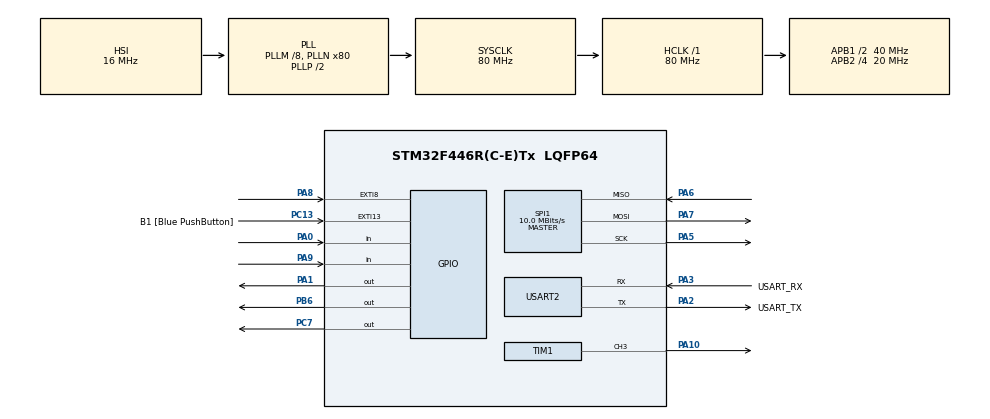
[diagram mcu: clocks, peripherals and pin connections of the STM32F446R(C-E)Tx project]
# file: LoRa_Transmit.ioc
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Mcu.Family=STM32F4
Mcu.Name=STM32F446R(C-E)Tx
Mcu.Package=LQFP64
NVIC.PriorityGroup=NVIC_PRIORITYGROUP_0
PA0-WKUP.Signal=GPIO_Input
PA1.Signal=GPIO_Output
PA10.Signal=S_TIM1_CH3
PA13.GPIO_Label=TMS
PA13.Mode=Serial_Wire
PA13.Signal=SYS_JTMS-SWDIO
PA14.GPIO_Label=TCK
PA14.Mode=Serial_Wire
PA14.Signal=SYS_JTCK-SWCLK
PA2.GPIO_Label=USART_TX
PA2.Mode=Asynchronous
PA2.Signal=USART2_TX
PA3.GPIO_Label=USART_RX
PA3.Mode=Asynchronous
PA3.Signal=USART2_RX
PA5.GPIO_PuPd=GPIO_PULLDOWN
PA5.Mode=Full_Duplex_Master
PA5.Signal=SPI1_SCK
PA6.GPIO_PuPd=GPIO_PULLDOWN
PA6.Mode=Full_Duplex_Master
PA6.Signal=SPI1_MISO
PA7.GPIO_PuPd=GPIO_PULLDOWN
PA7.Mode=Full_Duplex_Master
PA7.Signal=SPI1_MOSI
PA8.GPIO_PuPd=GPIO_PULLUP
PA8.Signal=GPXTI8
PA9.Signal=GPIO_Input
PB3.GPIO_Label=SWO
PB3.Signal=SYS_JTDO-SWO
PB6.GPIO_Speed=GPIO_SPEED_FREQ_VERY_HIGH
PB6.Signal=GPIO_Output
PC13.GPIO_Label=B1 [Blue PushButton]
PC13.GPIO_ModeDefaultEXTI=GPIO_MODE_IT_FALLING
PC13.Signal=GPXTI13
PC14-OSC32_IN.Mode=LSE-External-Oscillator
PC14-OSC32_IN.Signal=RCC_OSC32_IN
PC15-OSC32_OUT.Mode=LSE-External-Oscillator
PC15-OSC32_OUT.Signal=RCC_OSC32_OUT
PC7.GPIO_Speed=GPIO_SPEED_FREQ_VERY_HIGH
PC7.Signal=GPIO_Output
PH0-OSC_IN.Mode=HSE-External-Oscillator
PH0-OSC_IN.Signal=RCC_OSC_IN
PH1-OSC_OUT.Mode=HSE-External-Oscillator
PH1-OSC_OUT.Signal=RCC_OSC_OUT
ProjectManager.HeapSize=0x200
ProjectManager.StackSize=0x400
ProjectManager.TargetToolchain=STM32CubeIDE
RCC.48MHZClocksFreq_Value=84000000
RCC.AHBFreq_Value=80000000
RCC.APB1CLKDivider=RCC_HCLK_DIV2
RCC.APB1Freq_Value=40000000
RCC.APB1TimFreq_Value=80000000
RCC.APB2CLKDivider=RCC_HCLK_DIV4
RCC.APB2Freq_Value=20000000
RCC.APB2TimFreq_Value=40000000
RCC.CortexFreq_Value=80000000
RCC.FLatency-AdvancedSettings=FLASH_LATENCY_2
RCC.HCLKFreq_Value=80000000
RCC.HSE_VALUE=8000000
RCC.HSI_VALUE=16000000
RCC.PLLM=8
RCC.PLLN=80
RCC.SYSCLKFreq_VALUE=80000000
RCC.SYSCLKSource=RCC_SYSCLKSOURCE_PLLCLK
RCC.USBFreq_Value=80000000
RCC.VCOOutputFreq_Value=160000000
SH.S_TIM1_CH3.0=TIM1_CH3,PWM Generation3 CH3
SPI1.BaudRatePrescaler=SPI_BAUDRATEPRESCALER_2
SPI1.CalculateBaudRate=10.0 MBits/s
SPI1.Direction=SPI_DIRECTION_2LINES
SPI1.Mode=SPI_MODE_MASTER
SPI1.VirtualType=VM_MASTER
TIM1.Channel-PWM\ Generation3\ CH3=TIM_CHANNEL_3
USART2.VirtualMode=VM_ASYNC
board=NUCLEO-F446RE

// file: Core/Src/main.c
/* USER CODE BEGIN Header */
/**
 ******************************************************************************
 * @file           : main.c
 * @brief          : Main program body
 ******************************************************************************
 * @attention
 *
 * Copyright (c) 2024 STMicroelectronics.
 * All rights reserved.
 *
 * This software is licensed under terms that can be found in the LICENSE file
 * in the root directory of this software component.
 * If no LICENSE file comes with this software, it is provided AS-IS.
 *
 *
 *
 *RECEIVE RECEIVE RECEIVE RECEIVE RECEIVE RECEIVE RECEIVE RECEIVE RECEIVE RECEIVE
 ******************************************************************************
 */
/* USER CODE END Header */
#include "main.h"

/* USER CODE BEGIN PTD */
#include "stdio.h"
#include "string.h"

/* USER CODE END PTD */

/* USER CODE BEGIN PD */
#define FIFO_OVERFLOW 1
#define NULL_POINTER 2
#define FIFO_SIZE 10      // Beispielgröße des FIFO-Puffers
#define PACKET_SIZE 8     // Beispielgröße eines Pakets

//typedef enum {
//    RADIO_TICK_SIZE_0015_US, // Beispiel für eine Zeitgröße, z. B. 0,015 Mikrosekunden
//    RADIO_TICK_SIZE_1_US,    // Beispiel für 1 Mikrosekunde
//    RADIO_TICK_SIZE_100_US,  // Beispiel für 100 Mikrosekunden
//    // Weitere Größen können hier hinzugefügt werden.
//} RadioTickSizes_t;
//
//typedef struct TickTime_s {
//    RadioTickSizes_t PeriodBase;   //!< Die Basiseinheit der Zeit (Tickgröße)
//    uint16_t PeriodBaseCount;      //!< Die Anzahl der PeriodBase-Einheiten
//} TickTime_t;

/* USER CODE END PD */

/* USER CODE BEGIN PM */
uint8_t txData_const = 0xC0;  // Beispiel: Opcode für GetStatus
uint8_t rxData_const = 0x00;  // Hier wird die Antwort gespeichert
char uart_buf[100];
int uart_buf_len;
uint8_t busy, nss, reset;
uint8_t tx_fifo[FIFO_SIZE][PACKET_SIZE];  // FIFO für Pakete
uint8_t *tx_eprt = tx_fifo[0];            // Zeiger auf das erste Paket
uint8_t tx_length = 0;                    // Anzahl der Pakete im FIFO
uint8_t tx_activated = 0;
uint8_t buf_out[100]; // Beispielgröße für buf_out, abhängig von deinem Bedarf
uint8_t test_packet[8] = {1, 2, 3, 4, 5, 6, 7, 8};
uint8_t rx_buffer[8]; // Empfangspuffer für Daten

/* USER CODE END PM */

SPI_HandleTypeDef hspi1;

TIM_HandleTypeDef htim1;

UART_HandleTypeDef huart2;

/* USER CODE BEGIN PV */

void Erase_Flash(void) {
	FLASH_EraseInitTypeDef EraseInitStruct;
	uint32_t SectorError;

	// Unlock the Flash
	HAL_FLASH_Unlock();

	// Configure the erase operation
	EraseInitStruct.TypeErase = FLASH_TYPEERASE_SECTORS;
	EraseInitStruct.VoltageRange = FLASH_VOLTAGE_RANGE_3;
	EraseInitStruct.Sector = FLASH_SECTOR_0; // Specify sector to erase
	EraseInitStruct.NbSectors = 1;

	// Erase the sector
	if (HAL_FLASHEx_Erase(&EraseInitStruct, &SectorError) != HAL_OK) {
		// Handle error
	}

	// Lock the Flash
	HAL_FLASH_Lock();
}
void ResetChip(GPIO_TypeDef* GPIOx, uint16_t GPIO_Pin) {
	HAL_GPIO_WritePin(GPIOx, GPIO_Pin, GPIO_PIN_SET);
	HAL_Delay(20);
	HAL_GPIO_WritePin(GPIOx, GPIO_Pin, GPIO_PIN_RESET);
	HAL_Delay(100);
	HAL_GPIO_WritePin(GPIOx, GPIO_Pin, GPIO_PIN_SET);
	HAL_Delay(20);
}

void SelectChip(GPIO_TypeDef* GPIOx, uint16_t GPIO_Pin, GPIO_PinState state) {
	HAL_GPIO_WritePin(GPIOx, GPIO_Pin, state);
	HAL_Delay(2); // Falls notwendig
}
void SPI_TransmitReceiveWithDebug(SPI_HandleTypeDef* hspi, uint8_t* txData, uint8_t* rxData, uint16_t length, const char* debugMessage) {
	HAL_SPI_TransmitReceive(hspi, txData, rxData, length, HAL_MAX_DELAY);
	if (debugMessage) {
		HAL_UART_Transmit(&huart2, (uint8_t*)debugMessage, strlen(debugMessage), 100);
	}
}
/* USER CODE END PV */

void SystemClock_Config(void);
static void MX_GPIO_Init(void);
static void MX_USART2_UART_Init(void);
static void MX_SPI1_Init(void);
static void MX_TIM1_Init(void);

/* USER CODE BEGIN 0 */
uint8_t ProcessStatusByte(uint8_t* statusByte) {
	// Extrahiere die Bits 7:5 (Circuit Mode) und 4:2 (Command Status)
	uint8_t circuitMode = (*statusByte >> 5) & 0x07; // Maske 0x07 für 3 Bits
	uint8_t commandStatus = (*statusByte >> 2) & 0x07; // Maske 0x07 für 3 Bits

	// Debug-Ausgabe für UART
	char uart_buf[50];
	int uart_buf_len = sprintf(uart_buf, "Circuit Mode: %u, Command Status: %u\r\n", circuitMode, commandStatus);
	HAL_UART_Transmit(&huart2, (uint8_t *)uart_buf, uart_buf_len, 100);

	// Verarbeitung von Circuit Mode
	switch (circuitMode) {
	case 0x2:
		// STDBY_RC
		HAL_UART_Transmit(&huart2, (uint8_t *)"Mode: STDBY_RC\r\n", 17, 100);
		break;
	case 0x3:
		// STDBY_XOSC
		HAL_UART_Transmit(&huart2, (uint8_t *)"Mode: STDBY_XOSC\r\n", 19, 100);
		break;
	case 0x4:
		// FS
		HAL_UART_Transmit(&huart2, (uint8_t *)"Mode: FS\r\n", 10, 100);
		break;
	case 0x5:
		// Rx
		HAL_UART_Transmit(&huart2, (uint8_t *)"Mode: Rx\r\n", 10, 100);
		break;
	case 0x6:
		// Tx
		HAL_UART_Transmit(&huart2, (uint8_t *)"Mode: Tx\r\n", 10, 100);
		break;
	default:
		HAL_UART_Transmit(&huart2, (uint8_t *)"Mode: Unknown\r\n", 16, 100);

	}

	// Verarbeitung von Command Status
	switch (commandStatus) {
	case 0x1:
		HAL_UART_Transmit(&huart2, (uint8_t *)"Command Status: Success\r\n", 26, 100);
		break;
	case 0x2:
		HAL_UART_Transmit(&huart2, (uint8_t *)"Command Status: Data Available\r\n", 33, 100);
		break;
	case 0x3:
		HAL_UART_Transmit(&huart2, (uint8_t *)"Command Status: Timeout\r\n", 26, 100);
		break;
	case 0x4:
		HAL_UART_Transmit(&huart2, (uint8_t *)"Command Status: Error\r\n", 24, 100);
		break;
	case 0x5:
		HAL_UART_Transmit(&huart2, (uint8_t *)"Command Status: Failure\r\n", 26, 100);
		break;
	case 0x6:
		HAL_UART_Transmit(&huart2, (uint8_t *)"Command Status: Tx Done\r\n", 26, 100);
		break;
	default:
		HAL_UART_Transmit(&huart2, (uint8_t *)"Command Status: Unknown\r\n", 27, 100);
	}
	return circuitMode;
}

void SPI_WaitUntilReady(SPI_HandleTypeDef *hspi) {
	while (HAL_GPIO_ReadPin(GPIOA, GPIO_PIN_9) == GPIO_PIN_SET) {
		busy=uint8_t(HAL_GPIO_ReadPin(GPIOA, GPIO_PIN_9));
		HAL_GPIO_WritePin(GPIOB, GPIO_PIN_6, GPIO_PIN_SET); // Select the chip
		nss = uint8_t(HAL_GPIO_ReadPin(GPIOB, GPIO_PIN_6));

		HAL_Delay(5);
		HAL_GPIO_WritePin(GPIOB, GPIO_PIN_6, GPIO_PIN_RESET); // Select the chip
		nss = uint8_t(HAL_GPIO_ReadPin(GPIOB, GPIO_PIN_6));
		HAL_Delay(5);
	}
	busy=uint8_t(HAL_GPIO_ReadPin(GPIOA, GPIO_PIN_9));

}
static void SPI1_TRANSCEIVER_Delay(uint8_t* txData, uint8_t* rxData, uint8_t lengh)
{
	HAL_GPIO_WritePin(GPIOB, GPIO_PIN_6, GPIO_PIN_RESET);
	nss = uint8_t(HAL_GPIO_ReadPin(GPIOB, GPIO_PIN_6));
	HAL_Delay(10); // Small delay to ensure stability

	SPI_WaitUntilReady(&hspi1);
	HAL_SPI_TransmitReceive(&hspi1, txData, rxData, lengh, HAL_MAX_DELAY);
	HAL_GPIO_WritePin(GPIOB, GPIO_PIN_6, GPIO_PIN_SET);
	nss = uint8_t(HAL_GPIO_ReadPin(GPIOB, GPIO_PIN_6));

}
//void SPI_WaitPause(SPI_HandleTypeDef *hspi) {
//	while (HAL_GPIO_ReadPin(GPIOA, GPIO_PIN_9) == GPIO_PIN_RESET) {
//		busy=uint8_t(HAL_GPIO_ReadPin(GPIOA, GPIO_PIN_9));
//		HAL_SPI_Receive(&hspi1, &rxData_const, 1, HAL_MAX_DELAY);   // Lese die Antwort
//		HAL_GPIO_WritePin(GPIOB, GPIO_PIN_6, GPIO_PIN_RESET); // Select the chip
//		nss = uint8_t(HAL_GPIO_ReadPin(GPIOB, GPIO_PIN_6));
//
//	}
//	busy=uint8_t(HAL_GPIO_ReadPin(GPIOA, GPIO_PIN_9));
//	HAL_Delay(10); // Small delay to ensure stability
//}

void SPI_WaitOpcod(SPI_HandleTypeDef *hspi) {
	HAL_GPIO_WritePin(GPIOB, GPIO_PIN_6, GPIO_PIN_SET); // Select the chip
	nss = uint8_t(HAL_GPIO_ReadPin(GPIOB, GPIO_PIN_6));
	while (HAL_GPIO_ReadPin(GPIOA, GPIO_PIN_9) == GPIO_PIN_SET) {
		busy=uint8_t(HAL_GPIO_ReadPin(GPIOA, GPIO_PIN_9));
		HAL_GPIO_WritePin(GPIOB, GPIO_PIN_6, GPIO_PIN_RESET); // Select the chip
		nss = uint8_t(HAL_GPIO_ReadPin(GPIOB, GPIO_PIN_6));

		HAL_Delay(5);
		HAL_GPIO_WritePin(GPIOB, GPIO_PIN_6, GPIO_PIN_SET); // Select the chip
		nss = uint8_t(HAL_GPIO_ReadPin(GPIOB, GPIO_PIN_6));
		HAL_Delay(10); // Small delay to ensure stability

		//SPI1_TRANSCEIVER_Delay(&tx, &rx, 1);
	}
	busy=uint8_t(HAL_GPIO_ReadPin(GPIOA, GPIO_PIN_9));

}

void SPI_WaitTransmit(SPI_HandleTypeDef *hspi) {
	HAL_GPIO_WritePin(GPIOB, GPIO_PIN_6, GPIO_PIN_RESET); // Select the chip
	nss = uint8_t(HAL_GPIO_ReadPin(GPIOB, GPIO_PIN_6));
	while (HAL_GPIO_ReadPin(GPIOA, GPIO_PIN_9) != GPIO_PIN_SET) {
		busy=uint8_t(HAL_GPIO_ReadPin(GPIOA, GPIO_PIN_9));
		HAL_GPIO_WritePin(GPIOB, GPIO_PIN_6, GPIO_PIN_SET); // Select the chip
		nss = uint8_t(HAL_GPIO_ReadPin(GPIOB, GPIO_PIN_6));

		HAL_Delay(5); // Small delay to ensure stability
		HAL_GPIO_WritePin(GPIOB, GPIO_PIN_6, GPIO_PIN_RESET); // Select the chip
		nss = uint8_t(HAL_GPIO_ReadPin(GPIOB, GPIO_PIN_6));

	}
	busy=uint8_t(HAL_GPIO_ReadPin(GPIOA, GPIO_PIN_9));
	HAL_Delay(10); // Small delay to ensure stability

}
void GetStatus() {
	uint8_t command = 0xC0;  // Nur Low Byte wird verwendet
	uint8_t response = 0;

	// Sende 16-Bit-Datenrahmen (High Byte wird ignoriert)
	HAL_SPI_TransmitReceive(&hspi1, &command, &response, 1, HAL_MAX_DELAY);
	ProcessStatusByte(&response);
	// Extrahiere nur das Low Byte aus der Antwort
	HAL_Delay(10);

}

void SetStandby() {
	uint8_t command[2] = {0x80, 0x01};
	//uint8_t response[2]= {0x00, 0x00};
	// Sende und empfange 16-Bit-Datenrahmen
	// Zuerst Daten senden
	HAL_SPI_Transmit(&hspi1, (uint8_t*)command, 2, HAL_MAX_DELAY);

	// Dann die Antwort empfangen
	//HAL_SPI_Receive(&hspi1, (uint8_t*)&response, 2, HAL_MAX_DELAY);
	HAL_Delay(10);

}

// Funktion zum Aktivieren des LoRa Modus
void setLoRaMode() {
	//*(uint16_t*)tx = 0x8A | 0x01 << 8; // LoRa mode

	uint8_t tx[2] = {0x8A, 0x01}; // LoRa Mode aktivieren
	HAL_SPI_Transmit(&hspi1, tx, 2, HAL_MAX_DELAY);
	HAL_UART_Transmit(&huart2, (uint8_t *)"Set LoRa mode\r\n", 15, 100);
	HAL_Delay(10);

}
void getPacketType(SPI_HandleTypeDef* hspi) {
	//uint8_t txData;
	//*(uint32_t*)txData = 0x03 | 0x00 << 16; // LoRa mode
	uint8_t txData[3] = {0x03, 0x00, 0x00};  // Opcode = 0x03, NOP, NOP
	uint8_t rxData[3] = {0x00, 0x00, 0x00};

	// SPI-Übertragung und Empfang
	HAL_SPI_Transmit(&hspi1,txData, 3, HAL_MAX_DELAY);   // Lese die Antwort
	HAL_SPI_Receive(&hspi1, rxData, 3, HAL_MAX_DELAY);   // Lese die Antwort

	// SPI_TransmitReceiveWithDebug(hspi, txData[0], rxData, 3, "GetPacketType: ");
	// Der Pakettyp befindet sistatusch im dritten Byte (rxData[2])
	uint8_t packetType = rxData[2];

	// Debug-Ausgabe
	switch (packetType) {
	case 0x00:
		HAL_UART_Transmit(&huart2, (uint8_t *)"Packet Type: GFSK (0x00)\r\n", 30, 100);
		break;
	case 0x01:
		HAL_UART_Transmit(&huart2, (uint8_t *)"Packet Type: LoRa (0x01)\r\n", 30, 100);

		break;
	case 0x02:
		HAL_UART_Transmit(&huart2, (uint8_t *)"Packet Type: Ranging (0x02)\r\n", 30, 100);

		break;
	case 0x03:
		HAL_UART_Transmit(&huart2, (uint8_t *)"Packet Type: FLRC (0x03)\r\n", 30, 100);

		break;
	case 0x04:
		HAL_UART_Transmit(&huart2, (uint8_t *)"Packet Type: BLE (0x04)\r\n", 30, 100);

		break;
	default:
		HAL_UART_Transmit(&huart2, (uint8_t *)"Unknown Packet Type:", 20, 100);
		HAL_UART_Transmit(&huart2, &packetType, 1, 100);
		HAL_UART_Transmit(&huart2, (uint8_t *)"\r\n", 4, 100);

		break;
	}
}

// Funktion zum Setzen der Frequenz
void setFrequency() {
	uint8_t tx[4] = {0x86, 0xB8, 0x9D, 0x89}; // Frequenzdaten
	uint8_t rx[4] = {0};
	SPI_TransmitReceiveWithDebug(&hspi1, tx, rx, 4, "Set Frequency\r\n");  // SPI mit Debugger
	HAL_Delay(10);

}

// Funktion zum Setzen der Basisadresse des Buffers
void setBufferBaseAddress() {
	uint8_t tx[3] = {0x8F, 0x80, 0x00}; // Basisadresse TODO
	uint8_t rx[3] = {0};
	SPI_TransmitReceiveWithDebug(&hspi1, tx, rx, 3, "Set Buffer Base Address\r\n");  // SPI mit Debugger
	HAL_Delay(10);
}

// Funktion zum Setzen der Modulationsparameter
void setModulationParams() {
	uint8_t tx[4] = {0x8B, 0x70, 0x26, 0x01}; // Modulationsparameter
	uint8_t rx[4] = {0};
	SPI_TransmitReceiveWithDebug(&hspi1, tx, rx, 4, "Set Modulation Params\r\n");  // SPI mit Debugger
	HAL_Delay(10);
}

// Funktion zum Setzen der Paketparameter
void setPacketParams() {
	uint8_t tx[8] = {0x8C, 0x0C, 0x80, 0x08, 0x20, 0x40, 0x00, 0x00}; // Paketparameter
	uint8_t rx[8] = {0};
	SPI_TransmitReceiveWithDebug(&hspi1, tx, rx, 8, "Set Packet Params\r\n");  // SPI mit Debugger
	HAL_Delay(10);
}

// Funktion zum Setzen der IRQ-Parameter (DIO1, DIO2, DIO3)
//void setDioIrqParams() {
//	uint8_t tx[9] = {0x8E, 0x1F, 0xE0, 0x00, 0x01, 0x00, 0x02, 0x40, 0x20}; // IRQ Masken
//	uint8_t rx[9] = {0};
//	SPI_TransmitReceiveWithDebug(&hspi1, tx, rx, 9, "Set DIO IRQ Params\r\n");  // SPI mit Debugger
//	HAL_Delay(10);
//}

// Funktion zum Setzen der RX-Periode (Empfangsparameter)
void setTxParams() {
	uint8_t tx[3] = {0x8E, 0x1F, 0x04}; // TX Periode
	uint8_t rx[3] = {0};
	SPI_TransmitReceiveWithDebug(&hspi1, tx, rx, 3, "Set TX Period\r\n");  // SPI mit Debugger
	HAL_Delay(10);
}
void setTx() {
	uint8_t tx[4] = {0x83, 0x00, 0x00, 0x00}; // TX Periode
	uint8_t rx[4] = {0};
	SPI_TransmitReceiveWithDebug(&hspi1, tx, rx, 4, "Set TX\r\n");  // SPI mit Debugger
	HAL_Delay(10);
}
void ClrIrqStatus() {
	uint8_t tx[3] = {0x97, 0xFF, 0xFF}; // Opcode für ClrIrqStatus und Maske
	uint8_t rx[3] = {0};

	// Sende SPI-Befehl
	HAL_SPI_TransmitReceive(&hspi1, tx, rx, 3, HAL_MAX_DELAY);
	HAL_UART_Transmit(&huart2, (uint8_t *)"ClrIrqStatus sent.\r\n", 20, HAL_MAX_DELAY);
	HAL_Delay(10);
}

void setDioIrqParams(uint16_t irqMask, uint16_t dioMask, uint16_t dio1Mask, uint16_t dio2Mask) {
	uint8_t tx[9] = {0};

	// SPI-Befehl: SetDioIrqParams
	tx[0] = 0x8D;               // Opcode für SetDioIrqParams
	tx[1] = (irqMask >> 8);     // IRQ-Maske (High-Byte)
	tx[2] = (irqMask & 0xFF);   // IRQ-Maske (Low-Byte)
	tx[3] = (dioMask >> 8);     // DIO-Maske (High-Byte)
	tx[4] = (dioMask & 0xFF);   // DIO-Maske (Low-Byte)
	tx[5] = (dio1Mask >> 8);    // DIO1-Maske (High-Byte)
	tx[6] = (dio1Mask & 0xFF);  // DIO1-Maske (Low-Byte)
	tx[7] = (dio2Mask >> 8);    // DIO2-Maske (High-Byte)
	tx[8] = (dio2Mask & 0xFF);  // DIO2-Maske (Low-Byte)

	// Sende SPI-Befehl
	HAL_SPI_Transmit(&hspi1, tx, 9, HAL_MAX_DELAY);
	HAL_UART_Transmit(&huart2, (uint8_t *)"SetDioIrqParams sent.\r\n", 23, HAL_MAX_DELAY);
	HAL_Delay(10);
}

bool checkIrqStatus(uint16_t irqMask) {
	uint8_t tx[4] = {0x15, 0x00, 0x00, 0x00}; // Opcode für GetIrqStatus
	uint8_t rx[4] = {0};

	// SPI-Befehl senden und IRQ-Status abrufen
	HAL_SPI_TransmitReceive(&hspi1, tx, rx, 4, HAL_MAX_DELAY);
	HAL_UART_Transmit(&huart2, (uint8_t *)"GetIrqStatus received.\r\n", 25, HAL_MAX_DELAY);

	// Kombiniere die empfangenen Bytes in ein 16-Bit-Ergebnis
	uint16_t irqStatus = (rx[1] << 8) | rx[2];

	// Debug-Ausgabe
	char debugMsg[50];
	snprintf(debugMsg, sizeof(debugMsg), "IRQ Status: 0x%04X\r\n", irqStatus);
	HAL_UART_Transmit(&huart2, (uint8_t *)debugMsg, strlen(debugMsg), HAL_MAX_DELAY);

	// Überprüfe, ob die gewünschten IRQ-Bits gesetzt sind
	return (irqStatus & irqMask) != 0;
}
void DerTakt()
{
	HAL_GPIO_WritePin(GPIOB, GPIO_PIN_6, GPIO_PIN_SET);   // NSS auf HIGH
	nss = uint8_t(HAL_GPIO_ReadPin(GPIOB, GPIO_PIN_6));
	HAL_Delay(2);
	SPI_WaitUntilReady(&hspi1);
	HAL_Delay(2);
	SPI_WaitTransmit(&hspi1);

}
//
//void SetTxParams(uint8_t power, uint8_t rampTime) {
//    uint8_t tx[3] = {0};
//    uint8_t rx[3] = {0};
//
//    // SPI-Befehl: SetTxParams
//    tx[0] = 0x8E;          // Opcode für SetTxParams
//    tx[1] = power;         // Sendeleistung (0–22 dBm, je nach Hardware)
//    tx[2] = rampTime;      // Rampenzeit (z. B. RADIO_RAMP_02_US)
//
//    // Sende SPI-Befehl
//	HAL_SPI_TransmitReceive(&hspi1, tx, rx, 3, HAL_MAX_DELAY);
//}

//void WriteCommand(uint8_t opcode, uint8_t *buffer, uint16_t size) {
//    uint8_t merged_buf[size + 1];
//    merged_buf[0] = opcode;
//    memcpy(merged_buf + 1, buffer, size);
//
//    DerTakt();
//	HAL_SPI_Transmit(&hspi1, buf_out, sizeof(buf_out), HAL_MAX_DELAY);
//}
//
//void SetTx(TickTime_t timeout) {
//    uint8_t buf[3];
//    buf[0] = timeout.PeriodBase;
//    buf[1] = (uint8_t)((timeout.PeriodBaseCount >> 8) & 0x00FF);
//    buf[2] = (uint8_t)(timeout.PeriodBaseCount & 0x00FF);
//
//    InterruptSetting();
//
//    //HalPostRx();
//    //HalPreTx();
//    WriteCommand(RADIO_SET_TX, buf, sizeof(buf));
//    //OperatingMode = MODE_TX;
//}

void WriteBuffer(uint8_t offset, uint8_t *data, uint8_t length) {
	uint8_t txBuffer[length + 2];
	uint8_t rxBuffer[length + 2];  // Empfangspuffer für Status

	// Erstelle das Sendepaket
	txBuffer[0] = 0x1A;  // Opcode
	txBuffer[1] = offset;               // Offset
	for (uint8_t i = 0; i < length; i++) {
		txBuffer[i + 2] = data[i];      // Nutzdaten
	}

	// Sende das Paket und empfange Status
	HAL_SPI_Transmit(&hspi1, txBuffer, length + 2, HAL_MAX_DELAY);

	// Statusprüfung (optional)

	HAL_UART_Transmit(&huart2, (uint8_t*)"Buffer written\r\n", 15, HAL_MAX_DELAY);
	HAL_Delay(10);

}

void ReadBuffer(SPI_HandleTypeDef* hspi, UART_HandleTypeDef* huart, uint8_t payloadLength) {
  uint8_t tx[11] = {0x1B, 0x80}; // Kommando: ReadBuffer, Startadresse 0x80 + Offset
  uint8_t rx[11] = {0x00, 0x00};

  char buf[50];
  // SPI-Übertragung
  HAL_SPI_TransmitReceive(hspi, tx, rx, payloadLength + 3, HAL_MAX_DELAY);
  int uart_buf_len = sprintf(buf, "Received Data: %0x , %0x, %0x, %0x, %0x, %0x, %0x, %0x\r\n", rx[3], rx[4], rx[5], rx[6], rx[7], rx[8], rx[9], rx[10] );
  HAL_UART_Transmit(huart, (uint8_t*)buf, uart_buf_len, HAL_MAX_DELAY);

  // Zeilenumbruch nach den Daten
}
void SendPayload( uint8_t offset, uint8_t *data, uint8_t length) {
	WriteBuffer(offset, data, length);
	 DerTakt();
	 ReadBuffer(&hspi1, &huart2, 8);
	//	setTx();
	//    DerTakt();

}
void setDioIrqParamsForTxDone() {
    uint8_t tx[9] = {
        0x8D,       // Befehl: SetDioIrqParams
        0x40, 0x23, // IRQ-Masken: Aktiviert nur TxDone (Bit 3)
        0x00, 0x01, // Keine weiteren IRQs
        0x00, 0x02, // Keine weiteren IRQs
        0x40, 0x20  // DIO-Mapping: TxDone auf DIO1, andere DIOs Standard
    };
    uint8_t rx[9] = {0};

    SPI_TransmitReceiveWithDebug(&hspi1, tx, rx, 9, "Set DIO IRQ Params for TxDone\r\n");
    HAL_Delay(10);
}
// Die Funktion zum Einfügen eines Pakets
uint8_t PutPacket(uint8_t* in)
{
	uint8_t offset = 0x80;

	// Fehlerbehandlung für NULL-Pointer
	if (in == NULL) {
		return NULL_POINTER; // Eingabepuffer ist NULL
	}

	// FIFO-Überlaufprüfung
	if (tx_length == FIFO_SIZE) {
		// FIFO voll, aber nächstes Paket überschreibt das älteste Paket
		// FIFO-Pointer zurücksetzen, um zyklisch zu arbeiten
		tx_eprt = tx_fifo[0];
		tx_length = 0; // FIFO zurücksetzen
	}

	// Paket in FIFO einfügen
	for (int i = 0; i < PACKET_SIZE; i++) {
		*(tx_eprt + i) = *(in + i);
	}

	// FIFO-Pointer zyklisch bewegen
	if (tx_eprt == &tx_fifo[FIFO_SIZE - 1][0]) {
		tx_eprt = tx_fifo[0];  // Zurück zum Anfang des FIFOs
	} else {
		tx_eprt += PACKET_SIZE; // Nächstes Paket im FIFO
	}

	// FIFO-Länge erhöhen
	tx_length++;

	// Alle Pakete senden
	// Hier wird sichergestellt, dass jedes Paket gesendet wird, nicht nur das erste.
	SendPayload(offset, tx_fifo[0], PACKET_SIZE);

	// Verzögerung, um sicherzustellen, dass genug Zeit für die Übertragung bleibt
	HAL_Delay(100);  // Delay erhöht für eine stabilere Übertragung

	return 0;
}
/* USER CODE END 0 */

int main(void)
{

	/* USER CODE BEGIN 1 */
	//Erase_Flash();

	uint8_t data[PACKET_SIZE] = {1, 2, 3, 4, 5, 6, 7, 8};  // Beispiel-Daten
	int i=0;
	/* USER CODE END 1 */

	/* MCU Configuration--------------------------------------------------------*/

	/* Reset of all peripherals, Initializes the Flash interface and the Systick. */
	HAL_Init();

	/* Configure the system clock */
	SystemClock_Config();

	/* Initialize all configured peripherals */
	MX_GPIO_Init();
	MX_USART2_UART_Init();
	MX_SPI1_Init();
	MX_TIM1_Init();
	/* USER CODE BEGIN 2 */
	HAL_TIM_Base_Start(&htim1);
	ResetChip(GPIOC, GPIO_PIN_7);
	HAL_Delay(5);

	/*=======================================================================*/
	//NSSNSSNSSNSSNSSNSSNSSNSSNSSNSSNSSNSSNSSNSS
	/*=======================================================================*/

	// NSS Test
	SelectChip(GPIOB, GPIO_PIN_6, GPIO_PIN_SET);
	nss = uint8_t(HAL_GPIO_ReadPin(GPIOB, GPIO_PIN_6));

	HAL_Delay(5);

	SelectChip(GPIOB, GPIO_PIN_6, GPIO_PIN_RESET);
	nss = uint8_t(HAL_GPIO_ReadPin(GPIOB, GPIO_PIN_6));

	HAL_Delay(5);

	SelectChip(GPIOB, GPIO_PIN_6, GPIO_PIN_SET);
	nss = uint8_t(HAL_GPIO_ReadPin(GPIOB, GPIO_PIN_6));
	//SPI_WaitUntilReady(&hspi1);

	SPI_WaitTransmit(&hspi1);

	SetStandby();
	HAL_Delay(5);

	DerTakt();

	// PutPacket(data);
	/* USER CODE END 2 */

	/* Infinite loop */
	/* USER CODE BEGIN WHILE */
	while (1)
	{

		GetStatus();               // Status des Transceivers abrufen
		DerTakt();

		setLoRaMode();             // LoRa-Modus aktivieren
		DerTakt();

		getPacketType(&hspi1);     // Pakettyp abrufen
		DerTakt();

		setFrequency();            // Frequenz setzen
		DerTakt();

		setBufferBaseAddress();    // Basisadresse des Buffers setzen
		DerTakt();

		setModulationParams();     // Modulationsparameter konfigurieren
		DerTakt();

		setPacketParams();         // Paketparameter einstellen
		DerTakt();
		// Paketparameter setzen
		setTxParams();
		DerTakt();

		while(1){
			PutPacket(data);
			DerTakt();

			setDioIrqParamsForTxDone();
			DerTakt();

			setTx();
			DerTakt();
			// Warte auf TxDone oder Timeout
			// Warte auf TxDone IRQ
			while (!checkIrqStatus(0x0001)) {
				HAL_Delay(10); // Warte kurz
			}
			// IRQ wurde erkannt
			HAL_UART_Transmit(&huart2, (uint8_t *)"Packet sent successfully.\r\n", 28, HAL_MAX_DELAY);

			GetStatus();               // Status des Transceivers abrufen
			DerTakt();
			// Lösche IRQ-Status
			ClrIrqStatus();

			HAL_Delay(1000); // Wiederhole nach 1 Sekunde
			HAL_UART_Transmit(&huart2, (uint8_t*)"\r\n", 2, HAL_MAX_DELAY); // Debug-Ausgabe
		}
	}

	HAL_Delay(500);

	/* USER CODE END WHILE */

}

void SystemClock_Config(void)
{
	RCC_OscInitTypeDef RCC_OscInitStruct = {0};
	RCC_ClkInitTypeDef RCC_ClkInitStruct = {0};

	/** Configure the main internal regulator output voltage
	 */
	__HAL_RCC_PWR_CLK_ENABLE();
	__HAL_PWR_VOLTAGESCALING_CONFIG(PWR_REGULATOR_VOLTAGE_SCALE3);

	/** Initializes the RCC Oscillators according to the specified parameters
	 * in the RCC_OscInitTypeDef structure.
	 */
	RCC_OscInitStruct.OscillatorType = RCC_OSCILLATORTYPE_HSI;
	RCC_OscInitStruct.HSIState = RCC_HSI_ON;
	RCC_OscInitStruct.HSICalibrationValue = RCC_HSICALIBRATION_DEFAULT;
	RCC_OscInitStruct.PLL.PLLState = RCC_PLL_ON;
	RCC_OscInitStruct.PLL.PLLSource = RCC_PLLSOURCE_HSI;
	RCC_OscInitStruct.PLL.PLLM = 8;
	RCC_OscInitStruct.PLL.PLLN = 80;
	RCC_OscInitStruct.PLL.PLLP = RCC_PLLP_DIV2;
	RCC_OscInitStruct.PLL.PLLQ = 2;
	RCC_OscInitStruct.PLL.PLLR = 2;
	if (HAL_RCC_OscConfig(&RCC_OscInitStruct) != HAL_OK)
	{
		Error_Handler();
	}

	/** Initializes the CPU, AHB and APB buses clocks
	 */
	RCC_ClkInitStruct.ClockType = RCC_CLOCKTYPE_HCLK|RCC_CLOCKTYPE_SYSCLK
			|RCC_CLOCKTYPE_PCLK1|RCC_CLOCKTYPE_PCLK2;
	RCC_ClkInitStruct.SYSCLKSource = RCC_SYSCLKSOURCE_PLLCLK;
	RCC_ClkInitStruct.AHBCLKDivider = RCC_SYSCLK_DIV1;
	RCC_ClkInitStruct.APB1CLKDivider = RCC_HCLK_DIV2;
	RCC_ClkInitStruct.APB2CLKDivider = RCC_HCLK_DIV4;

	if (HAL_RCC_ClockConfig(&RCC_ClkInitStruct, FLASH_LATENCY_2) != HAL_OK)
	{
		Error_Handler();
	}
}

static void MX_SPI1_Init(void)
{

	/* SPI1 parameter configuration*/
	hspi1.Instance = SPI1;
	hspi1.Init.Mode = SPI_MODE_MASTER;
	hspi1.Init.Direction = SPI_DIRECTION_2LINES;
	hspi1.Init.DataSize = SPI_DATASIZE_8BIT;
	hspi1.Init.CLKPolarity = SPI_POLARITY_LOW;
	hspi1.Init.CLKPhase = SPI_PHASE_1EDGE;
	hspi1.Init.NSS = SPI_NSS_SOFT;
	hspi1.Init.BaudRatePrescaler = SPI_BAUDRATEPRESCALER_2;
	hspi1.Init.FirstBit = SPI_FIRSTBIT_MSB;
	hspi1.Init.TIMode = SPI_TIMODE_DISABLE;
	hspi1.Init.CRCCalculation = SPI_CRCCALCULATION_DISABLE;
	hspi1.Init.CRCPolynomial = 10;
	if (HAL_SPI_Init(&hspi1) != HAL_OK)
	{
		Error_Handler();
	}

}

static void MX_TIM1_Init(void)
{

	TIM_MasterConfigTypeDef sMasterConfig = {0};
	TIM_OC_InitTypeDef sConfigOC = {0};
	TIM_BreakDeadTimeConfigTypeDef sBreakDeadTimeConfig = {0};

	htim1.Instance = TIM1;
	htim1.Init.Prescaler = 0;
	htim1.Init.CounterMode = TIM_COUNTERMODE_UP;
	htim1.Init.Period = 65535;
	htim1.Init.ClockDivision = TIM_CLOCKDIVISION_DIV1;
	htim1.Init.RepetitionCounter = 0;
	htim1.Init.AutoReloadPreload = TIM_AUTORELOAD_PRELOAD_DISABLE;
	if (HAL_TIM_PWM_Init(&htim1) != HAL_OK)
	{
		Error_Handler();
	}
	sMasterConfig.MasterOutputTrigger = TIM_TRGO_RESET;
	sMasterConfig.MasterSlaveMode = TIM_MASTERSLAVEMODE_DISABLE;
	if (HAL_TIMEx_MasterConfigSynchronization(&htim1, &sMasterConfig) != HAL_OK)
	{
		Error_Handler();
	}
	sConfigOC.OCMode = TIM_OCMODE_PWM1;
	sConfigOC.Pulse = 0;
	sConfigOC.OCPolarity = TIM_OCPOLARITY_HIGH;
	sConfigOC.OCNPolarity = TIM_OCNPOLARITY_HIGH;
	sConfigOC.OCFastMode = TIM_OCFAST_DISABLE;
	sConfigOC.OCIdleState = TIM_OCIDLESTATE_RESET;
	sConfigOC.OCNIdleState = TIM_OCNIDLESTATE_RESET;
	if (HAL_TIM_PWM_ConfigChannel(&htim1, &sConfigOC, TIM_CHANNEL_3) != HAL_OK)
	{
		Error_Handler();
	}
	sBreakDeadTimeConfig.OffStateRunMode = TIM_OSSR_DISABLE;
	sBreakDeadTimeConfig.OffStateIDLEMode = TIM_OSSI_DISABLE;
	sBreakDeadTimeConfig.LockLevel = TIM_LOCKLEVEL_OFF;
	sBreakDeadTimeConfig.DeadTime = 0;
	sBreakDeadTimeConfig.BreakState = TIM_BREAK_DISABLE;
	sBreakDeadTimeConfig.BreakPolarity = TIM_BREAKPOLARITY_HIGH;
	sBreakDeadTimeConfig.AutomaticOutput = TIM_AUTOMATICOUTPUT_DISABLE;
	if (HAL_TIMEx_ConfigBreakDeadTime(&htim1, &sBreakDeadTimeConfig) != HAL_OK)
	{
		Error_Handler();
	}
	HAL_TIM_MspPostInit(&htim1);

}

static void MX_USART2_UART_Init(void)
{

	huart2.Instance = USART2;
	huart2.Init.BaudRate = 115200;
	huart2.Init.WordLength = UART_WORDLENGTH_8B;
	huart2.Init.StopBits = UART_STOPBITS_1;
	huart2.Init.Parity = UART_PARITY_NONE;
	huart2.Init.Mode = UART_MODE_TX_RX;
	huart2.Init.HwFlowCtl = UART_HWCONTROL_NONE;
	huart2.Init.OverSampling = UART_OVERSAMPLING_16;
	if (HAL_UART_Init(&huart2) != HAL_OK)
	{
		Error_Handler();
	}

}

static void MX_GPIO_Init(void)
{
	GPIO_InitTypeDef GPIO_InitStruct = {0};

	/* GPIO Ports Clock Enable */
	__HAL_RCC_GPIOC_CLK_ENABLE();
	__HAL_RCC_GPIOH_CLK_ENABLE();
	__HAL_RCC_GPIOA_CLK_ENABLE();
	__HAL_RCC_GPIOB_CLK_ENABLE();

	/*Configure GPIO pin Output Level */
	HAL_GPIO_WritePin(GPIOA, GPIO_PIN_1, GPIO_PIN_RESET);

	/*Configure GPIO pin Output Level */
	HAL_GPIO_WritePin(GPIOC, GPIO_PIN_7, GPIO_PIN_RESET);

	/*Configure GPIO pin Output Level */
	HAL_GPIO_WritePin(GPIOB, GPIO_PIN_6, GPIO_PIN_RESET);

	/*Configure GPIO pin : B1_Pin */
	GPIO_InitStruct.Pin = B1_Pin;
	GPIO_InitStruct.Mode = GPIO_MODE_IT_FALLING;
	GPIO_InitStruct.Pull = GPIO_NOPULL;
	HAL_GPIO_Init(B1_GPIO_Port, &GPIO_InitStruct);

	/*Configure GPIO pins : PA0 PA9 */
	GPIO_InitStruct.Pin = GPIO_PIN_0|GPIO_PIN_9;
	GPIO_InitStruct.Mode = GPIO_MODE_INPUT;
	GPIO_InitStruct.Pull = GPIO_NOPULL;
	HAL_GPIO_Init(GPIOA, &GPIO_InitStruct);

	/*Configure GPIO pin : PA1 */
	GPIO_InitStruct.Pin = GPIO_PIN_1;
	GPIO_InitStruct.Mode = GPIO_MODE_OUTPUT_PP;
	GPIO_InitStruct.Pull = GPIO_NOPULL;
	GPIO_InitStruct.Speed = GPIO_SPEED_FREQ_LOW;
	HAL_GPIO_Init(GPIOA, &GPIO_InitStruct);

	/*Configure GPIO pin : PC7 */
	GPIO_InitStruct.Pin = GPIO_PIN_7;
	GPIO_InitStruct.Mode = GPIO_MODE_OUTPUT_PP;
	GPIO_InitStruct.Pull = GPIO_NOPULL;
	GPIO_InitStruct.Speed = GPIO_SPEED_FREQ_VERY_HIGH;
	HAL_GPIO_Init(GPIOC, &GPIO_InitStruct);

	/*Configure GPIO pin : PA8 */
	GPIO_InitStruct.Pin = GPIO_PIN_8;
	GPIO_InitStruct.Mode = GPIO_MODE_IT_RISING;
	GPIO_InitStruct.Pull = GPIO_PULLUP;
	HAL_GPIO_Init(GPIOA, &GPIO_InitStruct);

	/*Configure GPIO pin : PB6 */
	GPIO_InitStruct.Pin = GPIO_PIN_6;
	GPIO_InitStruct.Mode = GPIO_MODE_OUTPUT_PP;
	GPIO_InitStruct.Pull = GPIO_NOPULL;
	GPIO_InitStruct.Speed = GPIO_SPEED_FREQ_VERY_HIGH;
	HAL_GPIO_Init(GPIOB, &GPIO_InitStruct);

}

void Error_Handler(void)
{
	__disable_irq();
	while (1)
	{
	}
}
